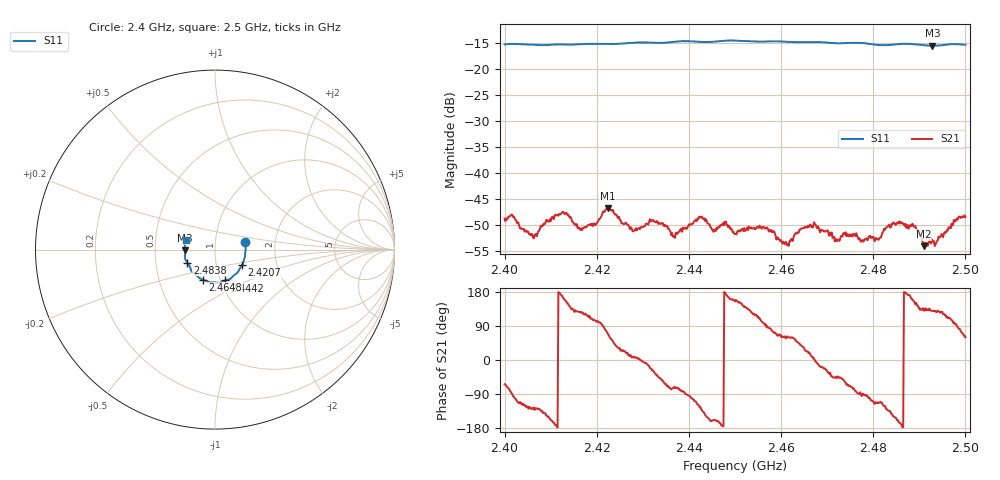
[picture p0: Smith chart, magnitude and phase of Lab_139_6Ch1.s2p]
# Hz S RI R 50
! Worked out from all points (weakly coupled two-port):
!   601 points, 2.4 GHz to 2.5 GHz, reference 50 ohm
!   highest |S21| = -46.87 dB at 2.4223 GHz (marker M1); lowest = -54.1 dB at 2.491 GHz (marker M2)
!   lowest |S11| = -15.6 dB at 2.4928 GHz (marker M3), VSWR 1.40, Z = 35.7 - j0.339 ohm
!   |S11| at or under -10 dB: start of sweep to end of sweep
!   S12 and S22 are empty: the file has one direction only
!   S11 on the Smith chart (normalised r, x): 2.4 GHz: 1.39, +0.12; 2.4207 GHz: 1.33, -0.24; 2.4442 GHz: 1.05, -0.37; 2.4648 GHz: 0.83, -0.29; 2.4838 GHz: 0.73, -0.11; 2.5 GHz: 0.72, +0.08
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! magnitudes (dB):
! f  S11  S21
! 2.4 GHz  -15.3  -48.8
! 2.4065 GHz  -15.4  -52.0
! 2.413 GHz  -15.3  -48.0
! 2.4167 GHz  -15.2  -50.7
! 2.4207 GHz  -15.2  -48.9
! 2.4223 GHz  -15.2  -46.9
! 2.4277 GHz  -15.0  -51.0
! 2.4333 GHz  -15.0  -49.8
! 2.4367 GHz  -14.8  -52.4
! 2.4442 GHz  -14.8  -49.8
! 2.45 GHz  -14.6  -51.8
! 2.4565 GHz  -14.8  -50.8
! 2.4612 GHz  -14.8  -53.6
! 2.4648 GHz  -14.9  -50.7
! 2.4667 GHz  -14.8  -50.2
! 2.4722 GHz  -15.1  -52.9
! 2.4833 GHz  -15.4  -50.1
! 2.4838 GHz  -15.4  -50.5
! 2.4887 GHz  -15.3  -50.1
! 2.491 GHz  -15.5  -54.1
! 2.4928 GHz  -15.6  -53.3
! 2.5 GHz  -15.4  -48.5
